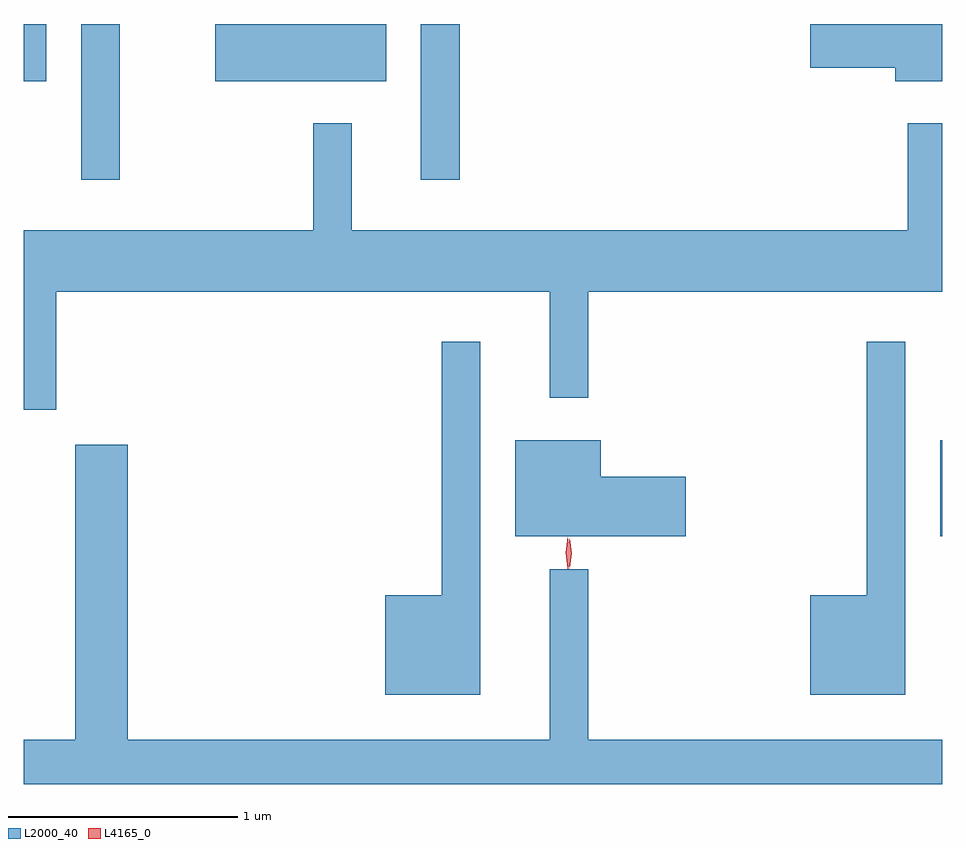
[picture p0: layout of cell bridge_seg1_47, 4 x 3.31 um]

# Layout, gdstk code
import gdstk
lib = gdstk.Library(unit=1e-6, precision=1e-09)
def R(c, l, rs):  # rectangles x0, y0, x1, y1
    for r in rs: c.add(gdstk.rectangle(r[:2], r[2:], *l))
def P(c, l, *ps):  # polygons
    for p in ps: c.add(gdstk.Polygon(p, *l))
L2000_40 = (2000, 40)
L4165_0 = (4165, 0)

bridge_seg1_47 = lib.new_cell('bridge_seg1_47')
R(bridge_seg1_47, L2000_40, [(1824.251,840.791,1824.261,841.209), (1820.511,842.343,1820.679,843.021), (1821.991,842.343,1822.159,843.021), (1820.261,842.771,1820.359,843.021), (1821.096,842.771,1821.839,843.021)])
P(bridge_seg1_47, L2000_40, [(1824.261,843.021),(1823.686,843.021),(1823.686,842.831),(1824.056,842.831),(1824.056,842.771),(1824.261,842.771)],
  [(1820.404,841.856),(1822.551,841.856),(1822.551,841.393),(1822.719,841.393),(1822.719,841.856),(1824.261,841.856),(1824.261,842.588),(1824.111,842.588),(1824.111,842.124),(1821.689,842.124),(1821.689,842.588),(1821.521,842.588),(1821.521,842.124),(1820.261,842.124),(1820.261,841.341),(1820.404,841.341)],
  [(1824.099,841.638),(1823.931,841.638),(1823.931,840.534),(1823.686,840.534),(1823.686,840.101),(1824.099,840.101)],
  [(1822.249,841.638),(1822.081,841.638),(1822.081,840.534),(1821.836,840.534),(1821.836,840.101),(1822.249,840.101)],
  [(1823.144,841.049),(1822.774,841.049),(1822.774,841.209),(1822.401,841.209),(1822.401,840.791),(1823.144,840.791)],
  [(1824.261,839.904),(1822.719,839.904),(1822.719,840.648),(1822.551,840.648),(1822.551,839.904),(1820.714,839.904),(1820.714,841.189),(1820.486,841.189),(1820.486,839.904),(1820.261,839.904),(1820.261,839.712),(1824.261,839.712)])
P(bridge_seg1_47, L4165_0, [(1822.631,840.65),(1822.631,840.65),(1822.621,840.718),(1822.63,840.786),(1822.63,840.786),(1822.631,840.786),(1822.641,840.718),(1822.632,840.65)],
  [(1822.638,840.653),(1822.638,840.653),(1822.628,840.716),(1822.638,840.779),(1822.638,840.78),(1822.639,840.779),(1822.648,840.716),(1822.639,840.653)])

lib.write_gds('bridge_seg1_47.gds')
